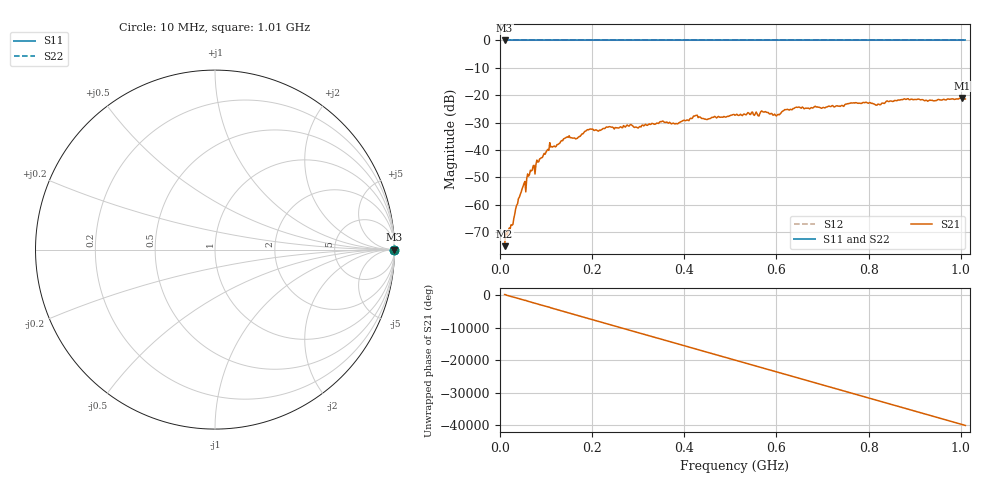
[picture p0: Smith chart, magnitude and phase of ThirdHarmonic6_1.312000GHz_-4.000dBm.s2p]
! 8/16/2025 2:30:57 PM
! C:\ANRITSUVNA\TEMP\TEMP.S2P
! CHANNEL.1
! TR.MEASUREMENT
! RAW.DATA
! RF.CORRECTION.OFF
! AVERAGING.OFF
! IF.BANDWIDTH: 5KHZ
! SWEEPTYPE:  FREQ.SWEEP(Linear)
! Reference Plane Port Info
! PORT:  PORT1  PORT2
! DISTANCE:  0  m  0  m
! TIME:  0  s  0  s
! PHASE.OFFSET:  0  deg.  0  deg.
! LOSS:  0  dB  0  dB
! REF.LOSS:  0  dB  0  dB
! REF.FREQ:  0  Hz  0  Hz
! Power Info
! POWER:  -20  dBm  -20  dBm
! EFF.POWER:  -20  dBm  -20  dBm
! SOURCE.ATTEN:  0  dB  0  dB
! TEST.ATTEN:  0  dB  0  dB
# GHZ S RI R 50.0
! FREQ.GHZ  S11RE  S11IM  S21RE  S21IM  S12RE  S12IM  S22RE  S22IM
!; PortSelection: Port_12
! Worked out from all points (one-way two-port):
!   501 points, 10 MHz to 1.01 GHz, reference 50 ohm
!   highest |S21| = -20.98 dB at 1.002 GHz (marker M1); lowest = -75.1 dB at 10 MHz (marker M2)
!   lowest |S11| = 0.0 dB at 10 MHz (marker M3)
!   |S11| at or under -10 dB: nowhere
!   |S22| runs from 0.0 to 0.0 dB; largest |S21 - S12| = 1.1
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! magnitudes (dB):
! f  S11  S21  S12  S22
! 10 MHz  0.0  -75.1  0.0  0.0
! 16 MHz  0.0  -71.0  0.0  0.0
! 26 MHz  0.0  -67.5  0.0  0.0
! 50 MHz  0.0  -53.3  0.0  0.0
! 70 MHz  0.0  -47.3  0.0  0.0
! 108 MHz  0.0  -37.3  0.0  0.0
! 146 MHz  0.0  -35.2  0.0  0.0
! 164 MHz  0.0  -35.9  0.0  0.0
! 178 MHz  0.0  -34.1  0.0  0.0
! 194 MHz  0.0  -32.4  0.0  0.0
! 344 MHz  0.0  -30.3  0.0  0.0
! 384 MHz  0.0  -30.4  0.0  0.0
! 424 MHz  0.0  -27.5  0.0  0.0
! 448 MHz  0.0  -28.9  0.0  0.0
! 510 MHz  0.0  -27.3  0.0  0.0
! 572 MHz  0.0  -26.1  0.0  0.0
! 602 MHz  0.0  -27.1  0.0  0.0
! 644 MHz  0.0  -24.4  0.0  0.0
! 678 MHz  0.0  -24.7  0.0  0.0
! 844 MHz  0.0  -22.3  0.0  0.0
! 1.002 GHz  0.0  -21.0  0.0  0.0
! 1.01 GHz  0.0  -21.4  0.0  0.0
